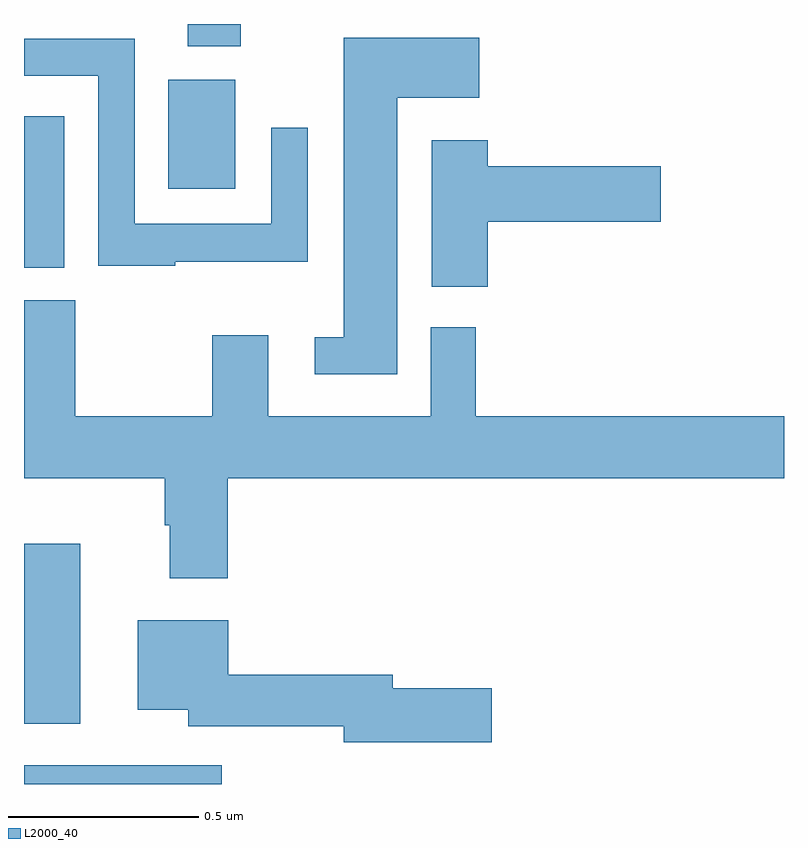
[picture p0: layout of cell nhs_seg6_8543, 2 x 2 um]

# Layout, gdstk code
import gdstk
lib = gdstk.Library(unit=1e-6, precision=1e-09)
def R(c, l, rs):  # rectangles x0, y0, x1, y1
    for r in rs: c.add(gdstk.rectangle(r[:2], r[2:], *l))
def P(c, l, *ps):  # polygons
    for p in ps: c.add(gdstk.Polygon(p, *l))
L2000_40 = (2000, 40)

nhs_seg6_8543 = lib.new_cell('nhs_seg6_8543')
R(nhs_seg6_8543, L2000_40, [(222,978.659,222.148,979.132), (222,979.858,222.106,980.257), (222.38,980.066,222.556,980.353), (222.431,980.442,222.571,980.5)])
P(nhs_seg6_8543, L2000_40, [(222.982,980.306),(223.198,980.306),(223.198,980.464),(222.842,980.464),(222.842,979.676),(222.765,979.676),(222.765,979.578),(222.982,979.578)],
  [(222.398,979.874),(222.747,979.874),(222.747,980.227),(222.651,980.227),(222.651,979.975),(222.291,979.975),(222.291,980.461),(222,980.461),(222,980.364),(222.195,980.364),(222.195,979.864),(222.398,979.864)],
  [(223.22,979.979),(223.675,979.979),(223.675,980.126),(223.22,980.126),(223.22,980.194),(223.073,980.194),(223.073,979.809),(223.22,979.809)],
  [(222.536,979.304),(224,979.304),(224,979.468),(223.189,979.468),(223.189,979.702),(223.07,979.702),(223.07,979.468),(222.643,979.468),(222.643,979.681),(222.496,979.681),(222.496,979.468),(222.135,979.468),(222.135,979.773),(222,979.773),(222,979.304),(222.371,979.304),(222.371,979.181),(222.383,979.181),(222.383,979.041),(222.536,979.041)],
  [(223.231,978.752),(222.97,978.752),(222.97,978.788),(222.538,978.788),(222.538,978.931),(222.299,978.931),(222.299,978.695),(222.432,978.695),(222.432,978.652),(222.842,978.652),(222.842,978.61),(223.231,978.61)],
  [(222.521,978.55),(222.229,978.55),(222.229,978.549),(222,978.549),(222,978.5),(222.521,978.5)])

lib.write_gds('nhs_seg6_8543.gds')
